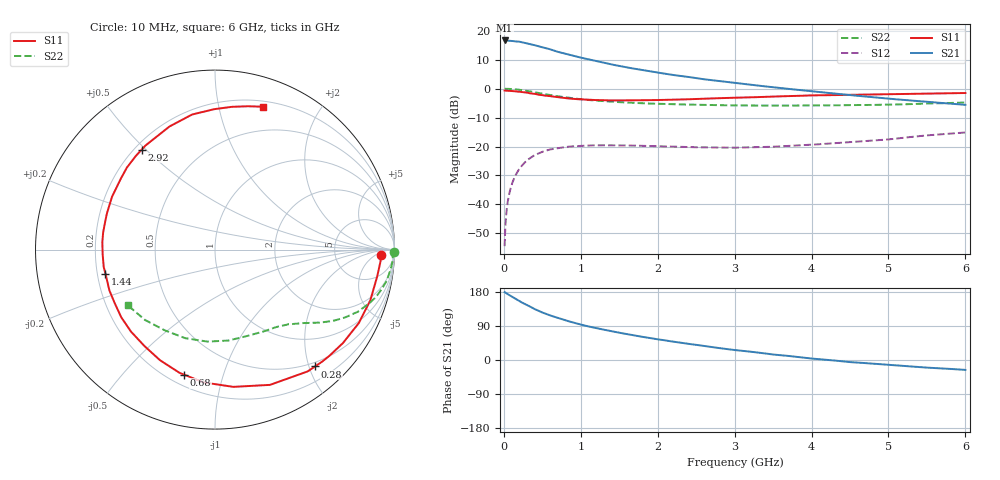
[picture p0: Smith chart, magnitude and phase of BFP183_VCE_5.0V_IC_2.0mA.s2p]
! Infineon Technologies  Discrete & RF Semiconductors
! BFP183
! VCE = 5.0 V,  IC =  2.0 mA
! Common Emitter S-Parameters:  Jan 2016
# GHz  S  MA  R  50
!  f  S11  S21  S12  S22
! GHz  MAG  ANG  MAG  ANG  MAG  ANG  MAG  ANG
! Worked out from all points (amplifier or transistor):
!   210 points, 10 MHz to 6 GHz, reference 50 ohm
!   highest |S21| = 16.6 dB at 10 MHz (marker M1)
!   |S21| within 3 dB of that: start of sweep to 594.1 MHz
!   unconditionally stable (mu >= 1): 2.134 GHz to 5.887 GHz
!   at 185 MHz: K = 0.10, MSG = 22.3 dB, |S12| = -28.4 dB
!   at 1.52 GHz: K = 0.72, MSG = 13.7 dB, |S12| = -19.6 dB
!   at 6 GHz: K = 0.97, MSG = 4.8 dB, |S12| = -15.2 dB
!   S11 on the Smith chart (normalised r, x): 10 MHz: 23, -9; 280 MHz: 0.43, -2.10; 680 MHz: 0.26, -0.75; 1.44 GHz: 0.23, -0.10; 2.92 GHz: 0.23, +0.49; 6 GHz: 0.25, +1.36
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0.01  0.9255 -1.7  6.783 179.0  0.0019 87.8  0.9997 -0.7
0.02  0.9247 -4.0  6.771 178.0  0.0042 86.5  0.99 -1.3
0.03  0.921 -5.8  6.759 176.6  0.0065 86.4  0.9907 -2.0
0.08  0.91 -14.6  6.692 170.2  0.0173 80.3  0.9867 -5.4
0.2  0.8828 -36.1  6.465 155.6  0.0408 69.5  0.9554 -13.2
0.28  0.857 -49.4  6.135 147.1  0.0543 62.1  0.9209 -17.9
0.4  0.8135 -67.9  5.625 134.4  0.0709 52.5  0.8672 -23.6
0.5  0.7715 -82.4  5.175 125.3  0.0809 45.9  0.8179 -27.5
0.6  0.7425 -95.0  4.781 117.7  0.0889 40.0  0.7754 -30.6
0.68  0.7178 -103.8  4.409 112.4  0.0928 36.1  0.7448 -32.6
0.8  0.6881 -116.5  4.016 104.5  0.098 31.3  0.7076 -35.1
1.02  0.651 -137.4  3.381 92.5  0.1029 23.9  0.6512 -38.9
1.2  0.6335 -151.8  2.982 84.2  0.1049 19.1  0.6207 -41.6
1.44  0.6249 -167.6  2.55 74.4  0.1046 15.2  0.5896 -44.8
1.8  0.6305 171.2  2.095 61.1  0.1029 11.9  0.558 -49.8
2.02  0.6354 160.5  1.874 54.0  0.1009 10.6  0.5457 -53.0
2.48  0.6599 141.3  1.532 40.5  0.0973 10.7  0.5264 -61.0
2.92  0.6907 126.2  1.295 28.4  0.0956 13.2  0.5137 -69.5
3.1  0.7009 120.9  1.213 24.3  0.0961 14.5  0.5109 -73.2
4.1  0.7656 97.7  0.873 2.2  0.1094 22.5  0.5132 -97.6
5.1  0.8039 82.0  0.653 -14.2  0.1372 26.2  0.5321 -124.5
6  0.8391 71.6  0.524 -26.1  0.1746 21.3  0.5767 -147.5
